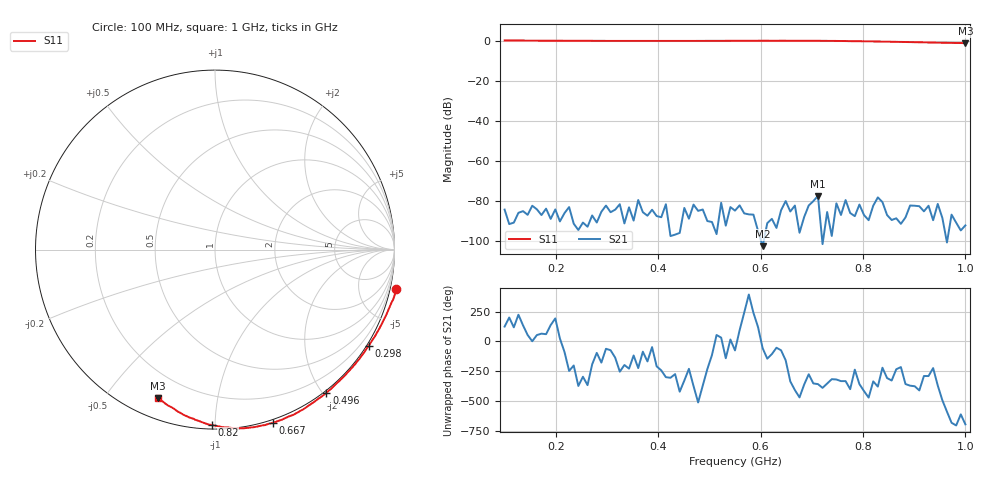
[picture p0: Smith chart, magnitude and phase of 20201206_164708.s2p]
# HZ S RI R 50
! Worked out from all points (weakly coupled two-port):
!   101 points, 100 MHz to 1 GHz, reference 50 ohm
!   highest |S21| = -77.43 dB at 712 MHz (marker M1); lowest = -102.6 dB at 604 MHz (marker M2)
!   lowest |S11| = -1.1 dB at 1 GHz (marker M3), VSWR 16.55, Z = 4.44 - j34.1 ohm
!   |S11| at or under -10 dB: nowhere
!   S12 and S22 are empty: the file has one direction only
!   S11 on the Smith chart (normalised r, x): 100 MHz: -1.33, -9.09; 298 MHz: -0.06, -3.49; 496 MHz: -0.03, -2.05; 667 MHz: -0.03, -1.39; 820 MHz: 0.02, -0.98; 1 GHz: 0.09, -0.68
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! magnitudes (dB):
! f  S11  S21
! 100 MHz  0.3  -84.3
! 253 MHz  0.1  -90.8
! 298 MHz  0.1  -82.3
! 352 MHz  0.1  -89.8
! 361 MHz  0.1  -79.5
! 370 MHz  0.1  -85.6
! 406 MHz  0.1  -88.1
! 496 MHz  0.1  -90.0
! 550 MHz  0.1  -84.8
! 604 MHz  0.2  -102.6
! 667 MHz  0.1  -82.3
! 703 MHz  0.1  -80.1
! 712 MHz  0.1  -77.4
! 721 MHz  0.1  -101.5
! 757 MHz  0.0  -87.0
! 766 MHz  0.0  -79.5
! 775 MHz  0.0  -86.0
! 820 MHz  -0.2  -82.3
! 829 MHz  -0.2  -78.2
! 838 MHz  -0.3  -80.6
! 856 MHz  -0.4  -89.5
! 1 GHz  -1.1  -92.2
